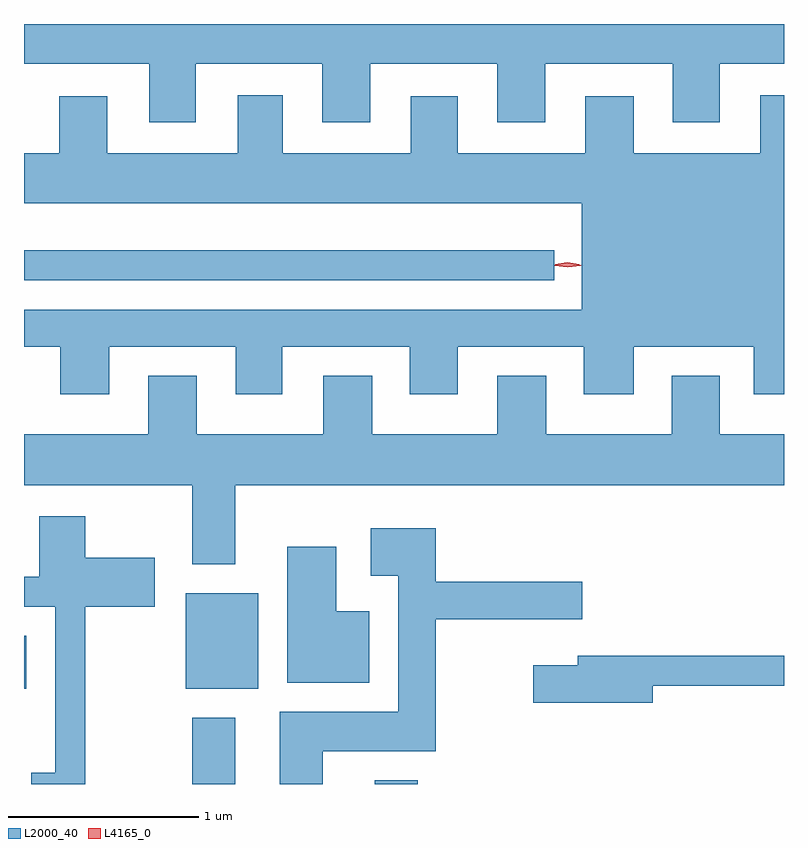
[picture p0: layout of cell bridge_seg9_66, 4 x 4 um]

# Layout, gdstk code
import gdstk
lib = gdstk.Library(unit=1e-6, precision=1e-09)
def R(c, l, rs):  # rectangles x0, y0, x1, y1
    for r in rs: c.add(gdstk.rectangle(r[:2], r[2:], *l))
def P(c, l, *ps):  # polygons
    for p in ps: c.add(gdstk.Polygon(p, *l))
L2000_40 = (2000, 40)
L4165_0 = (4165, 0)

bridge_seg9_66 = lib.new_cell('bridge_seg9_66')
R(bridge_seg9_66, L2000_40, [(1640.561,1945.844,1640.789,1946.194), (1641.521,1945.844,1641.749,1945.864), (1639.676,1946.345,1639.689,1946.624), (1640.526,1946.346,1640.909,1946.849), (1639.676,1948.496,1642.468,1948.654)])
P(bridge_seg9_66, L2000_40, [(1640.579,1949.636),(1641.246,1949.636),(1641.246,1949.326),(1641.499,1949.326),(1641.499,1949.636),(1642.166,1949.636),(1642.166,1949.326),(1642.419,1949.326),(1642.419,1949.636),(1643.091,1949.636),(1643.091,1949.326),(1643.339,1949.326),(1643.339,1949.636),(1643.676,1949.636),(1643.676,1949.844),(1639.676,1949.844),(1639.676,1949.636),(1640.336,1949.636),(1640.336,1949.326),(1640.579,1949.326)],
  [(1640.124,1948.146),(1640.791,1948.146),(1640.791,1947.896),(1641.034,1947.896),(1641.034,1948.146),(1641.706,1948.146),(1641.706,1947.896),(1641.959,1947.896),(1641.959,1948.146),(1642.621,1948.146),(1642.621,1947.896),(1642.884,1947.896),(1642.884,1948.146),(1643.516,1948.146),(1643.516,1947.896),(1643.676,1947.896),(1643.676,1949.469),(1643.551,1949.469),(1643.551,1949.164),(1642.884,1949.164),(1642.884,1949.464),(1642.631,1949.464),(1642.631,1949.164),(1641.959,1949.164),(1641.959,1949.464),(1641.711,1949.464),(1641.711,1949.164),(1641.039,1949.164),(1641.039,1949.469),(1640.801,1949.469),(1640.801,1949.164),(1640.114,1949.164),(1640.114,1949.464),(1639.861,1949.464),(1639.861,1949.164),(1639.676,1949.164),(1639.676,1948.901),(1642.611,1948.901),(1642.611,1948.339),(1639.676,1948.339),(1639.676,1948.146),(1639.866,1948.146),(1639.866,1947.896),(1640.124,1947.896)],
  [(1640.789,1947.416),(1643.676,1947.416),(1643.676,1947.684),(1643.339,1947.684),(1643.339,1947.994),(1643.086,1947.994),(1643.086,1947.684),(1642.424,1947.684),(1642.424,1947.994),(1642.166,1947.994),(1642.166,1947.684),(1641.509,1947.684),(1641.509,1947.994),(1641.251,1947.994),(1641.251,1947.684),(1640.584,1947.684),(1640.584,1947.994),(1640.331,1947.994),(1640.331,1947.684),(1639.676,1947.684),(1639.676,1947.416),(1640.561,1947.416),(1640.561,1947.001),(1640.789,1947.001)],
  [(1639.999,1946.776),(1640.364,1946.776),(1640.364,1947.034),(1639.999,1947.034),(1639.999,1947.254),(1639.756,1947.254),(1639.756,1946.934),(1639.676,1946.934),(1639.676,1946.776),(1639.841,1946.776),(1639.841,1945.904),(1639.713,1945.904),(1639.713,1945.844),(1639.999,1945.844)],
  [(1641.249,1946.016),(1641.844,1946.016),(1641.844,1946.711),(1642.614,1946.711),(1642.614,1946.909),(1641.844,1946.909),(1641.844,1947.189),(1641.501,1947.189),(1641.501,1946.941),(1641.646,1946.941),(1641.646,1946.224),(1641.021,1946.224),(1641.021,1945.844),(1641.249,1945.844)],
  [(1641.494,1946.754),(1641.319,1946.754),(1641.319,1947.094),(1641.061,1947.094),(1641.061,1946.376),(1641.494,1946.376)],
  [(1642.984,1946.361),(1643.676,1946.361),(1643.676,1946.519),(1642.591,1946.519),(1642.591,1946.469),(1642.356,1946.469),(1642.356,1946.271),(1642.984,1946.271)])
P(bridge_seg9_66, L4165_0, [(1642.539,1948.563),(1642.47,1948.572),(1642.469,1948.573),(1642.47,1948.573),(1642.539,1948.583),(1642.607,1948.573),(1642.608,1948.573),(1642.607,1948.572)],
  [(1642.535,1948.569),(1642.473,1948.578),(1642.473,1948.578),(1642.473,1948.579),(1642.535,1948.589),(1642.598,1948.579),(1642.598,1948.579),(1642.598,1948.578)])

lib.write_gds('bridge_seg9_66.gds')
